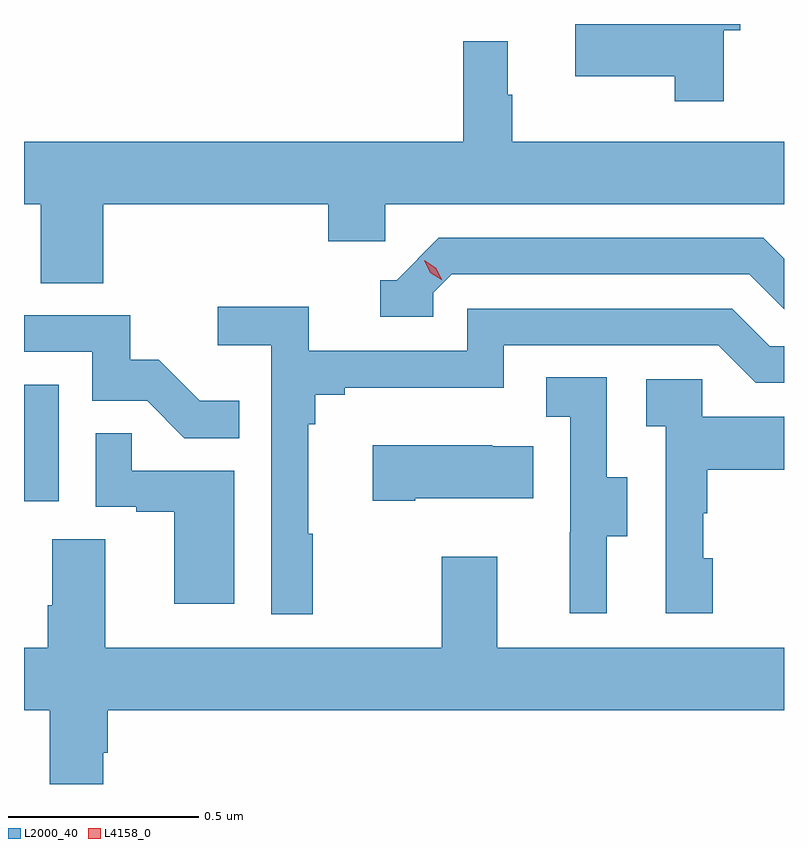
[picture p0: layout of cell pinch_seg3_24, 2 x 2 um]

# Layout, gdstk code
import gdstk
lib = gdstk.Library(unit=1e-6, precision=1e-09)
def R(c, l, rs):  # rectangles x0, y0, x1, y1
    for r in rs: c.add(gdstk.rectangle(r[:2], r[2:], *l))
def P(c, l, *ps):  # polygons
    for p in ps: c.add(gdstk.Polygon(p, *l))
L2000_40 = (2000, 40)
L4158_0 = (4158, 0)

pinch_seg3_24 = lib.new_cell('pinch_seg3_24')
R(pinch_seg3_24, L2000_40, [(1113.999,732.102,1114.09,732.409)])
P(pinch_seg3_24, L2000_40, [(1115.84,733.342),(1115.884,733.342),(1115.884,733.358),(1115.45,733.358),(1115.45,733.22),(1115.712,733.22),(1115.712,733.155),(1115.84,733.155)],
  [(1114.208,732.884),(1114.799,732.884),(1114.799,732.786),(1114.95,732.786),(1114.95,732.884),(1115.999,732.884),(1115.999,733.048),(1115.284,733.048),(1115.284,733.172),(1115.272,733.172),(1115.272,733.312),(1115.155,733.312),(1115.155,733.048),(1113.999,733.048),(1113.999,732.884),(1114.043,732.884),(1114.043,732.676),(1114.208,732.676)],
  [(1115.076,732.651),(1115.124,732.699),(1115.907,732.699),(1115.999,732.607),(1115.999,732.74),(1115.944,732.795),(1115.091,732.795),(1114.98,732.684),(1114.937,732.684),(1114.937,732.588),(1115.076,732.588)],
  [(1114.759,732.017),(1114.747,732.017),(1114.747,732.305),(1114.766,732.305),(1114.766,732.382),(1114.843,732.382),(1114.843,732.401),(1115.262,732.401),(1115.262,732.513),(1115.826,732.513),(1115.925,732.414),(1115.999,732.414),(1115.999,732.51),(1115.962,732.51),(1115.863,732.609),(1115.166,732.609),(1115.166,732.498),(1114.748,732.498),(1114.748,732.614),(1114.509,732.614),(1114.509,732.512),(1114.65,732.512),(1114.65,731.805),(1114.759,731.805)],
  [(1114.565,732.367),(1114.461,732.367),(1114.354,732.474),(1114.278,732.474),(1114.278,732.591),(1113.999,732.591),(1113.999,732.495),(1114.179,732.495),(1114.179,732.366),(1114.323,732.366),(1114.421,732.268),(1114.565,732.268)],
  [(1115.533,732.01),(1115.587,732.01),(1115.587,732.165),(1115.532,732.165),(1115.532,732.428),(1115.373,732.428),(1115.373,732.325),(1115.436,732.325),(1115.436,732.021),(1115.435,732.021),(1115.435,731.808),(1115.533,731.808)],
  [(1115.812,731.952),(1115.787,731.952),(1115.787,732.071),(1115.797,732.071),(1115.797,732.185),(1115.999,732.185),(1115.999,732.325),(1115.784,732.325),(1115.784,732.423),(1115.637,732.423),(1115.637,732.299),(1115.688,732.299),(1115.688,731.808),(1115.812,731.808)],
  [(1114.552,732.183),(1114.283,732.183),(1114.283,732.281),(1114.188,732.281),(1114.188,732.087),(1114.295,732.087),(1114.295,732.075),(1114.394,732.075),(1114.394,731.832),(1114.552,731.832)],
  [(1115.029,732.11),(1115.339,732.11),(1115.339,732.247),(1115.231,732.247),(1115.231,732.25),(1114.917,732.25),(1114.917,732.103),(1115.029,732.103)],
  [(1114.207,731.44),(1114.22,731.44),(1114.22,731.552),(1115.999,731.552),(1115.999,731.716),(1115.245,731.716),(1115.245,731.956),(1115.098,731.956),(1115.098,731.716),(1114.213,731.716),(1114.213,732.002),(1114.073,732.002),(1114.073,731.828),(1114.061,731.828),(1114.061,731.716),(1113.999,731.716),(1113.999,731.552),(1114.067,731.552),(1114.067,731.358),(1114.207,731.358)])
P(pinch_seg3_24, L4158_0, [(1115.099,732.684),(1115.068,732.703),(1115.052,732.736),(1115.052,732.736),(1115.052,732.736),(1115.083,732.717),(1115.099,732.684),(1115.099,732.684)])

lib.write_gds('pinch_seg3_24.gds')
